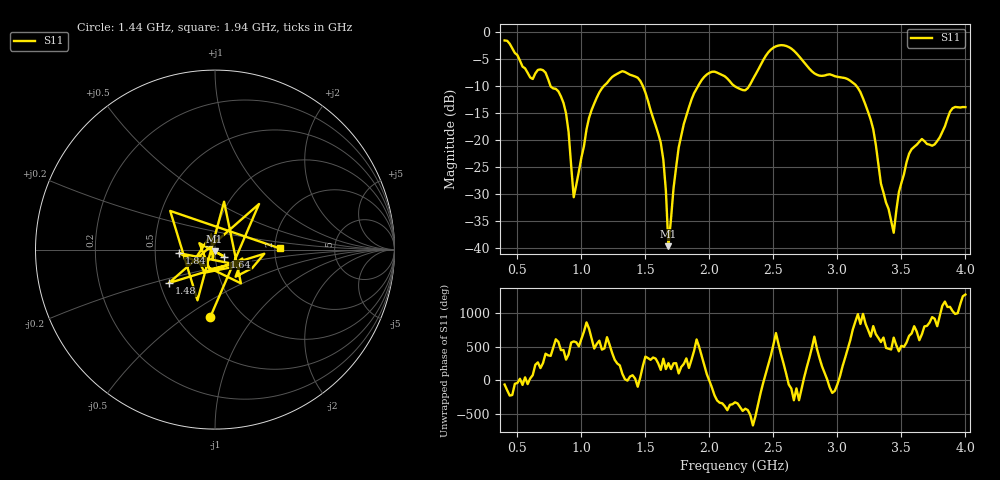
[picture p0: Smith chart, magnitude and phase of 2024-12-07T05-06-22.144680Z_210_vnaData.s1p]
!Created with skrf (http://scikit-rf.org).
# Hz S RI R 50.0
!freq ReS11 ImS11
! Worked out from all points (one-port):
!   181 points, 400 MHz to 4 GHz, reference 50 ohm
!   lowest |S11| = -39.7 dB at 1.68 GHz (marker M1), VSWR 1.02, Z = 49.8 - j1.01 ohm
!   |S11| at or under -10 dB: 758.9 MHz to 1.175 GHz (416.1 MHz wide, 43 % of centre); 1.481 GHz to 1.911 GHz (430.8 MHz wide, 25.4 % of centre); 3.149 GHz to end of sweep (the widest 3 of 4)
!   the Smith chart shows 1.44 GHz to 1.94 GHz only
!   S11 on the Smith chart (normalised r, x): 1.44 GHz: 0.72, -0.63; 1.48 GHz: 0.56, -0.23; 1.64 GHz: 1.11, -0.09; 1.84 GHz: 0.67, -0.03; 1.94 GHz: 2.13, +0.03
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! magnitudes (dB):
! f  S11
! 400 MHz  -1.5
! 860 MHz  -13.1
! 900 MHz  -18.5
! 940 MHz  -30.6
! 1.08 GHz  -14.4
! 1.3 GHz  -7.5
! 1.44 GHz  -8.4
! 1.48 GHz  -10.0
! 1.64 GHz  -23.6
! 1.66 GHz  -29.4
! 1.68 GHz  -39.7
! 1.76 GHz  -21.4
! 1.84 GHz  -14.0
! 1.94 GHz  -8.9
! 2.2 GHz  -10.0
! 2.3 GHz  -10.4
! 2.5 GHz  -2.9
! 2.66 GHz  -3.4
! 2.84 GHz  -7.9
! 3.1 GHz  -9.0
! 3.26 GHz  -16.2
! 3.34 GHz  -28.1
! 3.44 GHz  -37.2
! 3.48 GHz  -29.7
! 3.56 GHz  -22.5
! 3.76 GHz  -20.8
! 3.9 GHz  -14.1
! 4 GHz  -13.9
